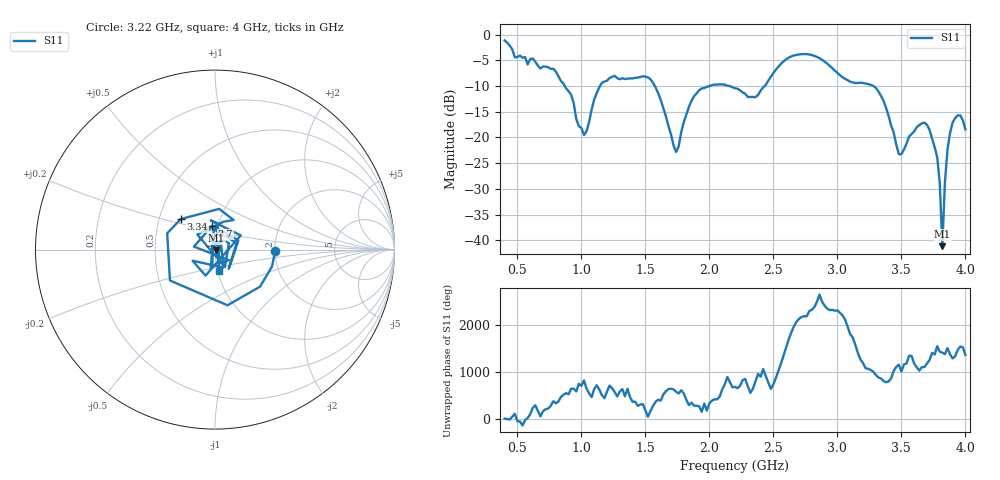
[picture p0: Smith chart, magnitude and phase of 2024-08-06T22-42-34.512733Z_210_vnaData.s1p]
!Created with skrf (http://scikit-rf.org).
# Hz S RI R 50.0
!freq ReS11 ImS11
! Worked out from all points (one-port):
!   181 points, 400 MHz to 4 GHz, reference 50 ohm
!   lowest |S11| = -41.1 dB at 3.82 GHz (marker M1), VSWR 1.02, Z = 50.8 - j0.458 ohm
!   |S11| at or under -10 dB: 870.5 MHz to 1.145 GHz (274.5 MHz wide, 27.2 % of centre); 1.574 GHz to 2.001 GHz (427.8 MHz wide, 23.9 % of centre); 3.283 GHz to end of sweep (the widest 3 of 4)
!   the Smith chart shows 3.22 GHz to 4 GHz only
!   S11 on the Smith chart (normalised r, x): 3.22 GHz: 2.01, -0.04; 3.34 GHz: 0.65, +0.24; 3.7 GHz: 0.94, +0.25; 4 GHz: 1.01, -0.24
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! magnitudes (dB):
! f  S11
! 400 MHz  -1.1
! 480 MHz  -4.4
! 780 MHz  -6.6
! 860 MHz  -9.5
! 1.02 GHz  -19.5
! 1.16 GHz  -9.4
! 1.3 GHz  -8.7
! 1.54 GHz  -8.7
! 1.74 GHz  -22.8
! 1.76 GHz  -21.7
! 1.84 GHz  -14.1
! 1.92 GHz  -10.8
! 2.2 GHz  -10.4
! 2.36 GHz  -12.1
! 2.66 GHz  -4.0
! 3.1 GHz  -9.1
! 3.22 GHz  -9.5
! 3.34 GHz  -11.9
! 3.48 GHz  -23.2
! 3.56 GHz  -19.8
! 3.7 GHz  -17.5
! 3.78 GHz  -23.9
! 3.8 GHz  -28.9
! 3.82 GHz  -41.1
! 3.84 GHz  -28.7
! 3.88 GHz  -19.1
! 3.94 GHz  -15.7
! 4 GHz  -18.4
